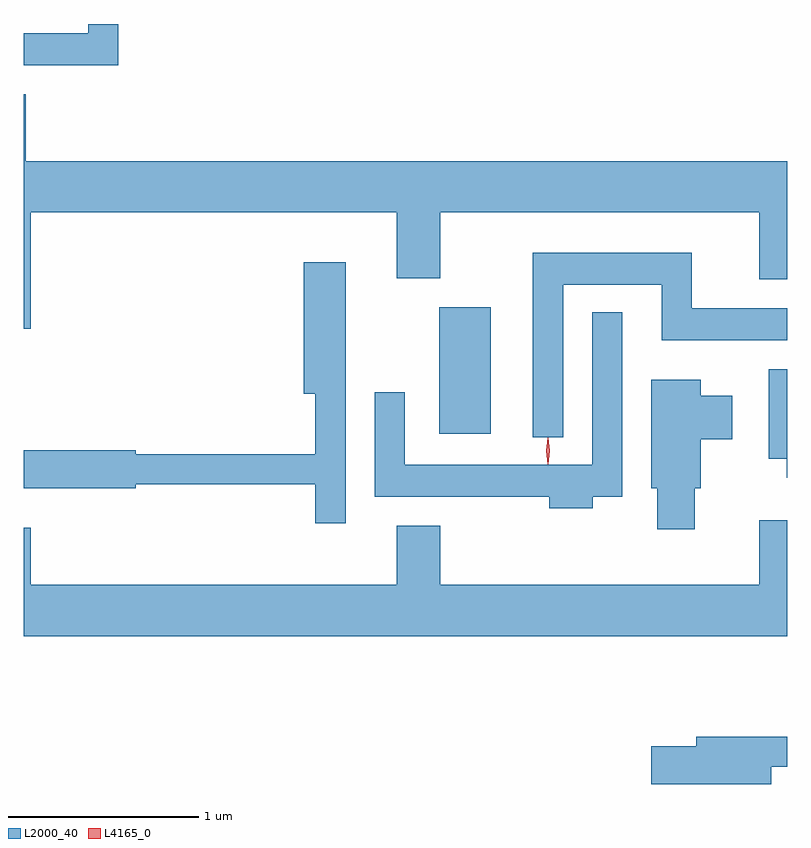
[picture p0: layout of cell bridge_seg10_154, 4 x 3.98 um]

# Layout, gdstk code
import gdstk
lib = gdstk.Library(unit=1e-6, precision=1e-09)
def R(c, l, rs):  # rectangles x0, y0, x1, y1
    for r in rs: c.add(gdstk.rectangle(r[:2], r[2:], *l))
def P(c, l, *ps):  # polygons
    for p in ps: c.add(gdstk.Polygon(p, *l))
L2000_40 = (2000, 40)
L4165_0 = (4165, 0)

bridge_seg10_154 = lib.new_cell('bridge_seg10_154')
R(bridge_seg10_154, L2000_40, [(1696.006,2090.556,1696.274,2091.219)])
P(bridge_seg10_154, L2000_40, [(1694.324,2092.703),(1694.166,2092.703),(1694.166,2092.654),(1693.828,2092.654),(1693.828,2092.486),(1694.324,2092.486)],
  [(1693.864,2091.716),(1695.781,2091.716),(1695.781,2091.371),(1696.009,2091.371),(1696.009,2091.716),(1697.681,2091.716),(1697.681,2091.366),(1697.828,2091.366),(1697.828,2091.984),(1693.839,2091.984),(1693.839,2092.334),(1693.828,2092.334),(1693.828,2091.106),(1693.864,2091.106)],
  [(1696.654,2091.336),(1697.171,2091.336),(1697.171,2091.046),(1697.828,2091.046),(1697.828,2091.214),(1697.329,2091.214),(1697.329,2091.504),(1696.496,2091.504),(1696.496,2090.538),(1696.654,2090.538)],
  [(1695.514,2091.454),(1695.296,2091.454),(1695.296,2090.766),(1695.356,2090.766),(1695.356,2090.449),(1694.414,2090.449),(1694.414,2090.469),(1693.828,2090.469),(1693.828,2090.271),(1694.414,2090.271),(1694.414,2090.291),(1695.356,2090.291),(1695.356,2090.088),(1695.514,2090.088)],
  [(1696.809,2090.226),(1696.964,2090.226),(1696.964,2091.193),(1696.806,2091.193),(1696.806,2090.394),(1695.824,2090.394),(1695.824,2090.773),(1695.666,2090.773),(1695.666,2090.226),(1696.581,2090.226),(1696.581,2090.166),(1696.809,2090.166)],
  [(1697.828,2090.894),(1697.731,2090.894),(1697.731,2090.426),(1697.826,2090.426),(1697.826,2090.326),(1697.828,2090.326)],
  [(1697.344,2090.271),(1697.374,2090.271),(1697.374,2090.526),(1697.539,2090.526),(1697.539,2090.754),(1697.374,2090.754),(1697.374,2090.839),(1697.116,2090.839),(1697.116,2090.271),(1697.146,2090.271),(1697.146,2090.056),(1697.344,2090.056)],
  [(1697.828,2090.104),(1697.681,2090.104),(1697.681,2089.764),(1696.009,2089.764),(1696.009,2090.074),(1695.781,2090.074),(1695.781,2089.764),(1693.864,2089.764),(1693.864,2090.064),(1693.828,2090.064),(1693.828,2089.496),(1697.828,2089.496)],
  [(1697.744,2088.811),(1697.828,2088.811),(1697.828,2088.969),(1697.351,2088.969),(1697.351,2088.919),(1697.116,2088.919),(1697.116,2088.721),(1697.744,2088.721)])
P(bridge_seg10_154, L4165_0, [(1696.575,2090.399),(1696.574,2090.4),(1696.565,2090.466),(1696.574,2090.532),(1696.575,2090.533),(1696.575,2090.532),(1696.585,2090.466),(1696.575,2090.4)],
  [(1696.574,2090.397),(1696.565,2090.466),(1696.574,2090.536),(1696.575,2090.536),(1696.576,2090.536),(1696.585,2090.466),(1696.576,2090.397),(1696.575,2090.397)])

lib.write_gds('bridge_seg10_154.gds')
